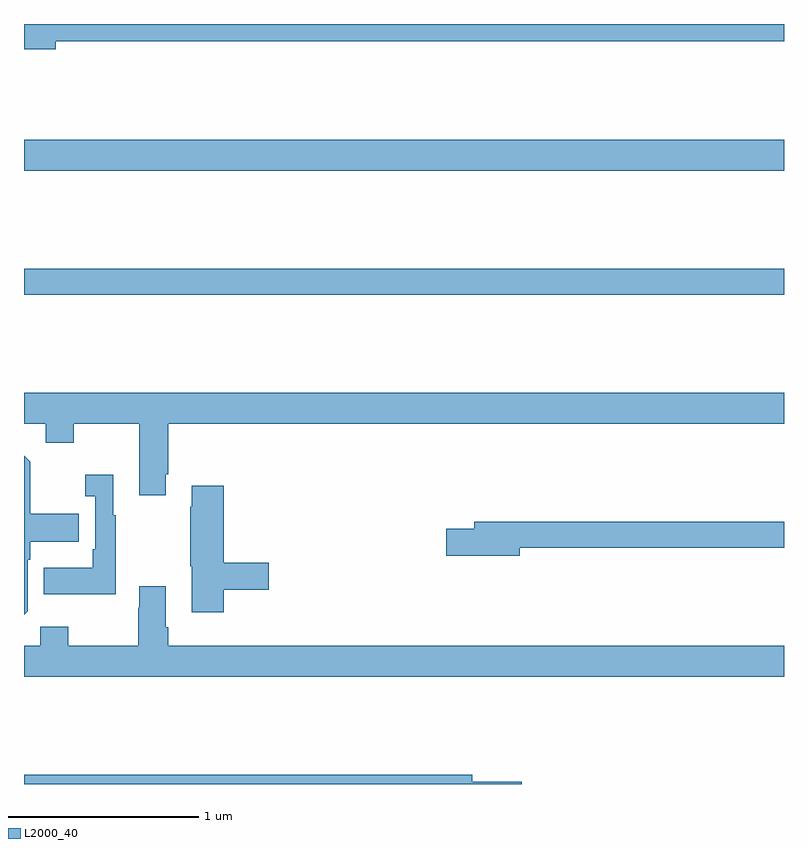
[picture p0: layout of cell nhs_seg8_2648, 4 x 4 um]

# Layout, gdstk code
import gdstk
lib = gdstk.Library(unit=1e-6, precision=1e-09)
def R(c, l, rs):  # rectangles x0, y0, x1, y1
    for r in rs: c.add(gdstk.rectangle(r[:2], r[2:], *l))
def P(c, l, *ps):  # polygons
    for p in ps: c.add(gdstk.Polygon(p, *l))
L2000_40 = (2000, 40)

nhs_seg8_2648 = lib.new_cell('nhs_seg8_2648')
R(nhs_seg8_2648, L2000_40, [(277,1154.476,281,1154.612), (277,1155.128,281,1155.292)])
P(nhs_seg8_2648, L2000_40, [(277.168,1155.808),(281,1155.808),(281,1155.9),(277,1155.9),(277,1155.766),(277.168,1155.766)],
  [(277.747,1153.531),(277.76,1153.531),(277.76,1153.796),(281,1153.796),(281,1153.96),(277,1153.96),(277,1153.796),(277.115,1153.796),(277.115,1153.697),(277.263,1153.697),(277.263,1153.796),(277.607,1153.796),(277.607,1153.419),(277.747,1153.419)],
  [(277.02,1152.81),(277.02,1153.079),(277.033,1153.079),(277.033,1153.175),(277.289,1153.175),(277.289,1153.323),(277.033,1153.323),(277.033,1153.595),(277,1153.628),(277,1152.79)],
  [(277.483,1153.315),(277.471,1153.315),(277.471,1153.528),(277.323,1153.528),(277.323,1153.415),(277.374,1153.415),(277.374,1153.135),(277.362,1153.135),(277.362,1153.039),(277.105,1153.039),(277.105,1152.899),(277.483,1152.899)],
  [(278.051,1152.922),(278.287,1152.922),(278.287,1153.064),(278.051,1153.064),(278.051,1153.471),(277.883,1153.471),(277.883,1153.358),(277.876,1153.358),(277.876,1153.047),(277.883,1153.047),(277.883,1152.804),(278.051,1152.804)],
  [(279.61,1153.144),(281,1153.144),(281,1153.28),(279.371,1153.28),(279.371,1153.244),(279.222,1153.244),(279.222,1153.102),(279.61,1153.102)],
  [(281,1152.628),(277.76,1152.628),(277.76,1152.724),(277.747,1152.724),(277.747,1152.94),(277.607,1152.94),(277.607,1152.827),(277.6,1152.827),(277.6,1152.628),(277.233,1152.628),(277.233,1152.727),(277.086,1152.727),(277.086,1152.628),(277,1152.628),(277,1152.464),(281,1152.464)],
  [(279.619,1151.912),(279.358,1151.912),(279.358,1151.948),(277,1151.948),(277,1151.9),(279.619,1151.9)])

lib.write_gds('nhs_seg8_2648.gds')
